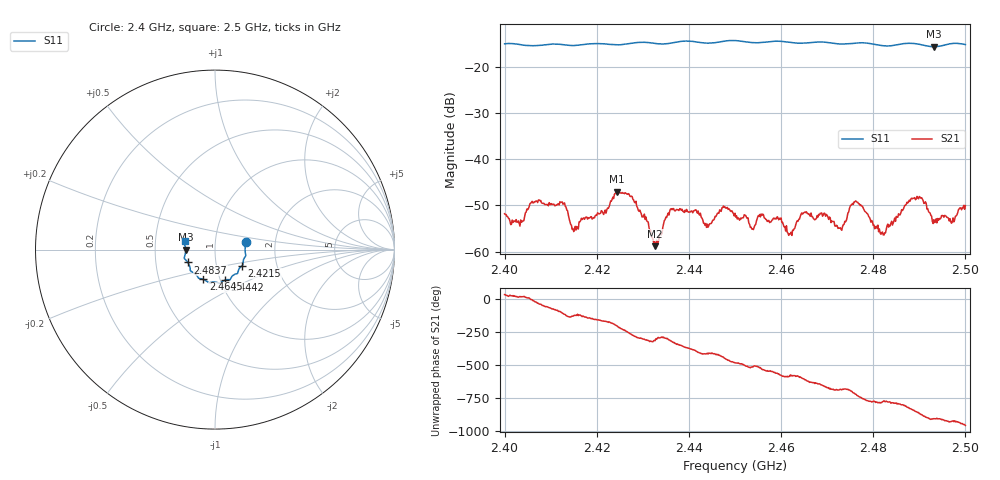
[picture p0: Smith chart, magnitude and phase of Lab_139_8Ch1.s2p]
# Hz S RI R 50
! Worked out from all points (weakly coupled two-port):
!   601 points, 2.4 GHz to 2.5 GHz, reference 50 ohm
!   highest |S21| = -46.99 dB at 2.4243 GHz (marker M1); lowest = -58.8 dB at 2.4327 GHz (marker M2)
!   lowest |S11| = -15.7 dB at 2.4932 GHz (marker M3), VSWR 1.39, Z = 35.9 - j0.0461 ohm
!   |S11| at or under -10 dB: start of sweep to end of sweep
!   S12 and S22 are empty: the file has one direction only
!   S11 on the Smith chart (normalised r, x): 2.4 GHz: 1.41, +0.12; 2.4215 GHz: 1.33, -0.25; 2.4442 GHz: 1.05, -0.37; 2.4645 GHz: 0.83, -0.29; 2.4837 GHz: 0.73, -0.11; 2.5 GHz: 0.71, +0.07
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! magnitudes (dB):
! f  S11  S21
! 2.4 GHz  -15.1  -51.8
! 2.4037 GHz  -15.3  -53.6
! 2.4073 GHz  -15.5  -48.8
! 2.4167 GHz  -15.3  -52.8
! 2.4215 GHz  -15.1  -52.0
! 2.4243 GHz  -15.3  -47.0
! 2.428 GHz  -14.9  -48.8
! 2.4327 GHz  -15.0  -58.8
! 2.4333 GHz  -15.1  -57.9
! 2.4363 GHz  -14.9  -50.9
! 2.4442 GHz  -15.0  -54.7
! 2.45 GHz  -14.4  -51.7
! 2.4618 GHz  -14.8  -56.1
! 2.4645 GHz  -15.0  -51.6
! 2.4667 GHz  -14.8  -52.4
! 2.4728 GHz  -15.1  -54.8
! 2.4763 GHz  -14.9  -49.2
! 2.4833 GHz  -15.6  -54.7
! 2.4837 GHz  -15.5  -54.4
! 2.49 GHz  -15.2  -48.1
! 2.4932 GHz  -15.7  -53.1
! 2.5 GHz  -15.3  -50.0
